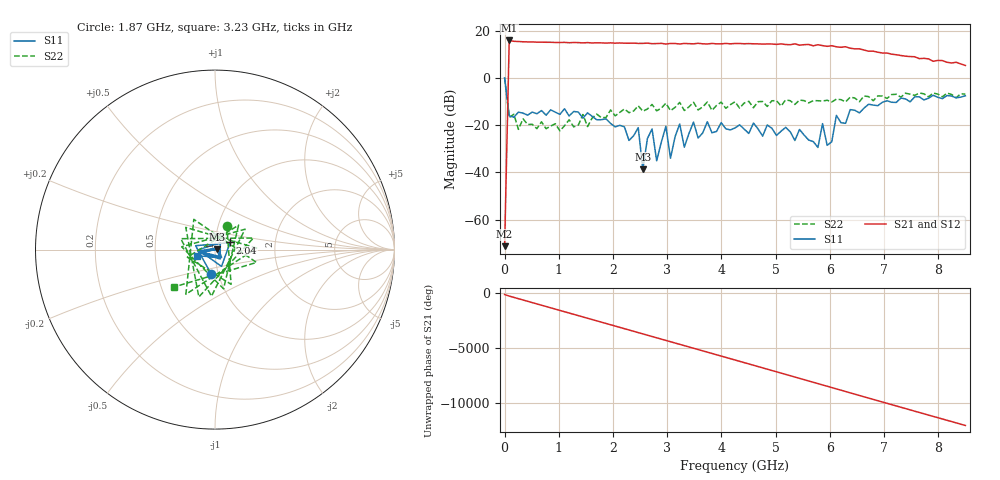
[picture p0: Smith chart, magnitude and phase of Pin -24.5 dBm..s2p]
! RsaToolbox (C) 2013 Rohde & Schwarz America
! Number of points: 101
! Number of ports: 2
! Balanced ports?: 0
# Hz S RI R 50
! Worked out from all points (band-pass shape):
!   101 points, 9 kHz to 8.5 GHz, reference 50 ohm
!   highest |S21| = 16.10 dB at 85.01 MHz (marker M1); lowest = -71.3 dB at 9 kHz (marker M2)
!   |S21| within 3 dB of the highest: 82.09 MHz to 6.334 GHz (6.252 GHz wide, 195 % of centre)
!   lowest |S11| = -38.6 dB at 2.55 GHz (marker M3), VSWR 1.02, Z = 51.2 + j0.158 ohm
!   |S11| at or under -10 dB: 53.76 MHz to 6.991 GHz (6.937 GHz wide, 197 % of centre); 7.119 GHz to 7.236 GHz (116.8 MHz wide, 1.63 % of centre)
!   |S22| runs from -22.3 to 0.2 dB; largest |S21 - S12| = 0
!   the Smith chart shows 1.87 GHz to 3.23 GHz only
!   S11 on the Smith chart (normalised r, x): 1.87 GHz: 0.92, -0.26; 2.04 GHz: 1.18, +0.09; 3.23 GHz: 0.81, -0.06
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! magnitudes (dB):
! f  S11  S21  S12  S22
! 9 kHz  0.2  -71.3  -71.3  0.2
! 85.01 MHz  -15.9  16.1  16.1  -16.7
! 1.02 GHz  -15.3  15.2  15.2  -22.3
! 1.445 GHz  -16.9  15.1  15.1  -15.4
! 1.87 GHz  -17.2  15.0  15.0  -16.7
! 2.04 GHz  -20.6  15.0  15.0  -15.9
! 2.465 GHz  -20.9  14.8  14.8  -11.7
! 2.55 GHz  -38.6  14.9  14.9  -14.0
! 2.72 GHz  -21.5  14.7  14.7  -11.1
! 2.805 GHz  -35.0  14.8  14.8  -13.8
! 2.89 GHz  -27.2  14.9  14.9  -12.7
! 2.975 GHz  -20.4  14.6  14.6  -10.5
! 3.06 GHz  -34.0  14.8  14.8  -13.7
! 3.23 GHz  -19.4  14.6  14.6  -10.2
! 3.315 GHz  -29.2  14.8  14.8  -13.7
! 3.485 GHz  -18.6  14.7  14.7  -10.2
! 3.57 GHz  -25.4  14.9  14.9  -13.4
! 4.25 GHz  -21.1  14.8  14.8  -10.0
! 5.695 GHz  -26.9  13.8  13.8  -9.5
! 6.12 GHz  -15.7  13.4  13.4  -8.8
! 7.14 GHz  -10.2  10.3  10.3  -6.9
! 8.5 GHz  -7.4  5.5  5.5  -6.7
